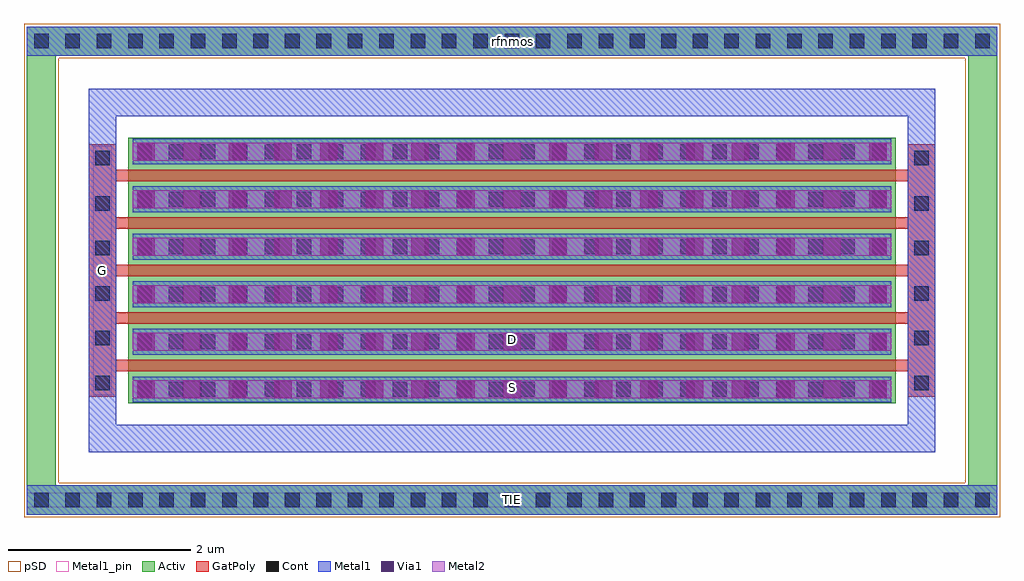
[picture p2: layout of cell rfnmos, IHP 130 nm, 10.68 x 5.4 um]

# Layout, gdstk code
import gdstk
lib = gdstk.Library(unit=1e-6, precision=5e-09)
def R(c, l, rs):  # rectangles x0, y0, x1, y1
    for r in rs: c.add(gdstk.rectangle(r[:2], r[2:], *l))
def A(c, l, x, y, w, h, nx, ny, dx, dy):  # array of equal rectangles
    R(c, l, [(x+i*dx, y+j*dy, x+i*dx+w, y+j*dy+h) for i in range(nx) for j in range(ny)])
def P(c, l, *ps):  # polygons
    for p in ps: c.add(gdstk.Polygon(p, *l))
Activ = (1, 0)
GatPoly = (5, 0)
Cont = (6, 0)
Metal1 = (8, 0)
Metal1_pin = (8, 2)
Metal2 = (10, 0)
pSD = (14, 0)
Via1 = (19, 0)

rfnmos = lib.new_cell('rfnmos')
R(rfnmos, Activ, [(1.14,1.245,9.54,4.155)])
P(rfnmos, Activ, [(0.03,0.03),(0.03,5.05),(0.35,5.05),(0.35,0.35),(10.33,0.35),(10.33,5.05),(0.03,5.05),(0.03,5.37),(10.65,5.37),(10.65,0.03)])
A(rfnmos, GatPoly, 1.01, 1.595, 8.66, 0.13, 1, 5, 0, 0.52)
R(rfnmos, GatPoly, [(0.71,1.32,1.01,4.08), (9.67,1.32,9.97,4.08)])
A(rfnmos, Cont, 0.45, 0.11, 0.16, 0.16, 3, 2, 0.345, 5.02)
A(rfnmos, Cont, 1.48, 0.11, 0.16, 0.16, 3, 2, 0.345, 5.02)
A(rfnmos, Cont, 2.51, 0.11, 0.16, 0.16, 3, 2, 0.345, 5.02)
A(rfnmos, Cont, 3.54, 0.11, 0.16, 0.16, 3, 2, 0.345, 5.02)
A(rfnmos, Cont, 4.57, 0.11, 0.16, 0.16, 3, 2, 0.345, 5.02)
A(rfnmos, Cont, 5.6, 0.11, 0.16, 0.16, 3, 2, 0.345, 5.02)
A(rfnmos, Cont, 6.63, 0.11, 0.16, 0.16, 3, 2, 0.345, 5.02)
A(rfnmos, Cont, 7.66, 0.11, 0.16, 0.16, 3, 2, 0.345, 5.02)
A(rfnmos, Cont, 8.69, 0.11, 0.16, 0.16, 3, 2, 0.345, 5.02)
A(rfnmos, Cont, 9.72, 0.11, 0.16, 0.16, 3, 2, 0.345, 5.02)
A(rfnmos, Cont, 1.24, 1.32, 0.16, 0.16, 1, 6, 0, 0.52)
A(rfnmos, Cont, 1.585, 1.32, 0.16, 0.16, 11, 6, 0.35, 0.52)
A(rfnmos, Cont, 5.43, 1.32, 0.16, 0.16, 12, 6, 0.35, 0.52)
A(rfnmos, Cont, 0.78, 1.39, 0.16, 0.16, 1, 3, 0, 0.49)
A(rfnmos, Cont, 9.74, 1.39, 0.16, 0.16, 1, 3, 0, 0.49)
R(rfnmos, Cont, [(0.11,0.11,0.27,0.27), (0.78,2.865,0.94,3.025), (9.74,2.865,9.9,3.025), (0.78,3.355,0.94,3.515), (9.74,3.355,9.9,3.515), (0.78,3.85,0.94,4.01), (9.74,3.85,9.9,4.01), (0.11,5.13,0.27,5.29)])
A(rfnmos, Metal1, 1.19, 1.26, 8.3, 0.28, 1, 6, 0, 0.52)
R(rfnmos, Metal1, [(0.03,0.03,10.65,0.35), (0.76,1.34,0.96,4.06), (9.72,1.34,9.92,4.06), (0.03,5.05,10.65,5.37)])
P(rfnmos, Metal1, [(0.71,0.71),(0.71,4.39),(1.01,4.39),(1.01,1.01),(9.67,1.01),(9.67,4.39),(0.71,4.39),(0.71,4.69),(9.97,4.69),(9.97,0.71)])
R(rfnmos, Metal1_pin, [(0.03,0.11,10.65,0.27), (0.03,0.11,10.65,0.27), (1.19,1.26,9.49,1.54), (1.19,1.26,9.49,1.54), (0.76,1.34,0.96,4.06), (0.76,1.34,0.96,4.06), (1.19,1.78,9.49,2.06), (1.19,1.78,9.49,2.06)])
A(rfnmos, Metal2, 1.19, 1.3, 8.3, 0.2, 1, 6, 0, 0.52)
P(rfnmos, pSD, [(0,0),(0,5.02),(0.38,5.02),(0.38,0.38),(10.3,0.38),(10.3,5.02),(0,5.02),(0,5.4),(10.68,5.4),(10.68,0)])
A(rfnmos, Via1, 1.24, 1.305, 0.19, 0.19, 8, 6, 0.5, 0.52)
A(rfnmos, Via1, 5.245, 1.305, 0.19, 0.19, 8, 6, 0.5, 0.52)
A(rfnmos, Via1, 9.25, 1.305, 0.19, 0.19, 1, 6, 0, 0.52)
rfnmos.add(gdstk.Label('S', (5.34,1.42), layer=63, texttype=0))
rfnmos.add(gdstk.Label('D', (5.34,1.94), layer=63, texttype=0))
rfnmos.add(gdstk.Label('G', (0.86,2.7), layer=63, texttype=0))
rfnmos.add(gdstk.Label('TIE', (5.34,0.19), layer=63, texttype=0))
rfnmos.add(gdstk.Label('rfnmos', (5.34,5.21), layer=63, texttype=0))

lib.write_gds('rfnmos.gds')
